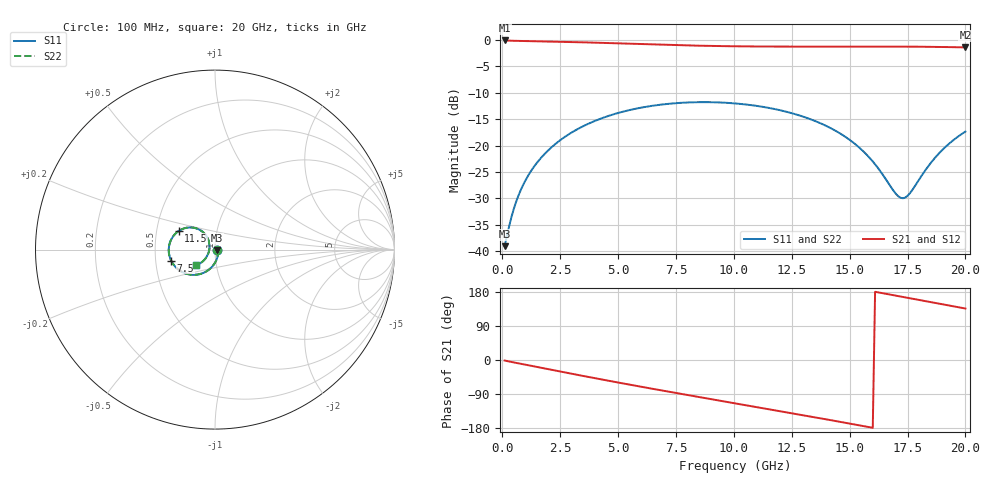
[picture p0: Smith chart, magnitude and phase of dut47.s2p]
! Touchstone file exported from HFSS 2026.1.0
!  File:  C:/ffzhzh/LocalFiles/Ansys_Project_Files/temp_train_TSV_RDL_47_1782966614_15332.aedt
!  Generated:  12:36:49 PM Jul  2, 2026
!  Design:  TSV_RDL
!  Project:  temp_train_TSV_RDL_47_1782966614_15332
! Variables:
!  h_bsmrdl = 4.47um
!  h_ox = 20um
!  h_rdl = 5um
!  h_sub = 78.28um
!  h_tmrdl = 5.63um
!  h_tsv = 78.28um
!  h_via = 3um
!  l_bsmrdl = 854.28um
!  l_sub = 3696.08um
!  l_tmrdl = 146.23um
!  m_sub = 200um
!  pitch = 30.32um
!  r_tsv = 11.42um
!  s_tmrdl = 10um
!  w_bsmrdl = 28.03um
!  w_sub = 500um
!  w_tmrdl = 21.41um
!  x_tsv_center1 = 156.935um
!  x_tsv_center2 = 1039.245um
!  x_tsv_center3 = 1206.885um
!  x_tsv_center4 = 2089.195um
!  x_tsv_center5 = 2256.835um
!  x_tsv_center6 = 3139.145um
# GHz S MA R 50.000000
! Terminal data exported
! Port[1] = TM_RDL1_1_T1
! Port[2] = TM_RDL5_1_T1
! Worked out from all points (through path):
!   200 points, 100 MHz to 20 GHz, reference 50 ohm
!   highest |S21| = -0.10 dB at 100 MHz (marker M1); lowest = -1.4 dB at 20 GHz (marker M2)
!   group delay of S21, straight-line fit = 30.6 ps
!   lowest |S11| = -39.0 dB at 100 MHz (marker M3), VSWR 1.02, Z = 51.1 - j0.156 ohm
!   |S11| at or under -10 dB: start of sweep to end of sweep
!   |S22| runs from -39.0 to -11.8 dB; largest |S21 - S12| = 1.5e-14
!   S11 on the Smith chart (normalised r, x): 100 MHz: 1.02, -0.00; 7.5 GHz: 0.60, -0.08; 11.5 GHz: 0.65, +0.14; 20 GHz: 0.80, -0.14
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0.1  0.01117 -7.9  0.9889 -1.4  0.9889 -1.4  0.01116 -7.8
! Gamma 0 0 0 0
! Port Impedance 50 0 50 0
0.4  0.02125 -41.2  0.9828 -5.2  0.9828 -5.2  0.02124 -41.2
0.6  0.02949 -56.6  0.9805 -7.6  0.9805 -7.6  0.02948 -56.6
0.9  0.04243 -71.1  0.978 -11.2  0.978 -11.2  0.04243 -71.1
1.2  0.05564 -80.7  0.9757 -14.8  0.9757 -14.8  0.05563 -80.7
2.2  0.09959 -100.7  0.9661 -26.8  0.9661 -26.8  0.09958 -100.7
3.5  0.1529 -119.1  0.9495 -42.2  0.9495 -42.2  0.1528 -119.1
5.1  0.2063 -138.9  0.9256 -60.6  0.9256 -60.6  0.2063 -138.9
6.8  0.2434 -158.3  0.9012 -79.4  0.9012 -79.4  0.2433 -158.3
7.5  0.2521 -165.9  0.8925 -87.0  0.8925 -87.0  0.252 -166.0
8.8  0.2578 -179.7  0.8794 -101.0  0.8794 -101.0  0.2578 -179.8
10.1  0.2502 166.9  0.8706 -114.8  0.8706 -114.8  0.2502 166.8
11.5  0.2276 153.0  0.8659 -129.7  0.8659 -129.7  0.2275 152.9
13.4  0.1746 135.4  0.8653 -150.1  0.8653 -150.1  0.1745 135.3
14.4  0.1378 127.6  0.8663 -161.1  0.8663 -161.1  0.1376 127.3
15.3  0.1007 122.9  0.8671 -171.1  0.8671 -171.1  0.1005 122.6
16  0.07079 123.6  0.8673 -178.9  0.8673 -178.9  0.07045 123.1
16.7  0.04326 136.5  0.8667 173.2  0.8667 173.2  0.04272 136.0
17.1  0.03315 158.2  0.8659 168.7  0.8659 168.7  0.03247 157.9
17.4  0.03219 -178.6  0.8652 165.3  0.8652 165.3  0.03152 -178.3
18.8  0.08172 -136.4  0.8589 149.4  0.8589 149.4  0.08151 -136.0
20  0.1357 -140.0  0.8502 135.8  0.8502 135.8  0.1357 -139.8
